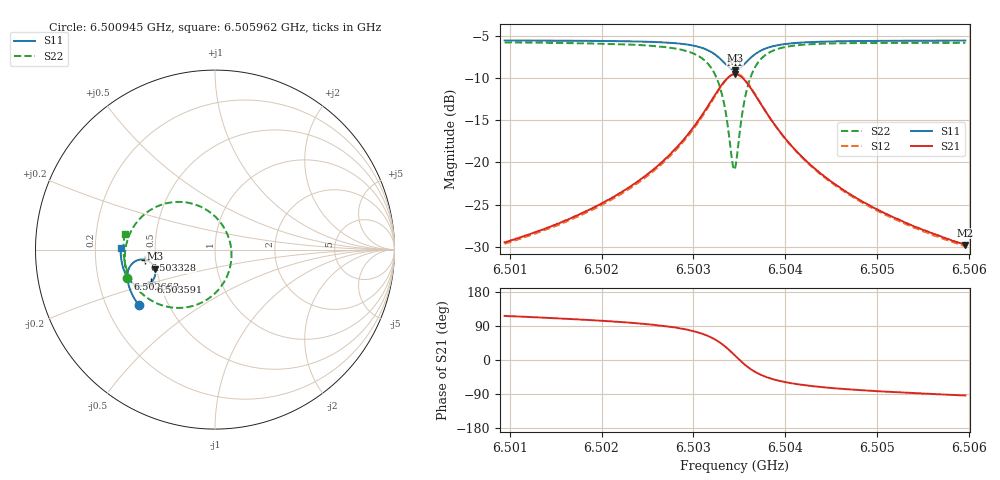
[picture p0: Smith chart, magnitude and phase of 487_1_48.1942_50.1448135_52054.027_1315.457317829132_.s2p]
#  HZ  S  RI  R  50.00
! Rohde & Schwarz Vector Network Analyzer
! Rohde-Schwarz,ZNB20-2Port,1311601062101988,3.16
! Created: UTC 3/20/2024, 11:57:54 AM
! freq[Hz]  re:S11  im:S11  re:S21  im:S21  re:S12  im:S12  re:S22  im:S22
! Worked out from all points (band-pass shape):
!   401 points, 6.500945 GHz to 6.505962 GHz, reference 50 ohm
!   highest |S21| = -9.57 dB at 6.503453 GHz (marker M1); lowest = -29.8 dB at 6.505962 GHz (marker M2)
!   |S21| within 3 dB of the highest: 6.503203 GHz to 6.503705 GHz (501.4 kHz wide, 0.00771 % of centre)
!   lowest |S11| = -9.1 dB at 6.503453 GHz (marker M3), VSWR 2.09, Z = 24.4 - j5.92 ohm
!   |S11| at or under -10 dB: nowhere
!   |S22| runs from -20.9 to -5.8 dB; largest |S21 - S12| = 0.011
!   S11 on the Smith chart (normalised r, x): 6.500945 GHz: 0.34, -0.29; 6.502663 GHz: 0.33, -0.14; 6.503328 GHz: 0.44, -0.06; 6.503591 GHz: 0.45, -0.19; 6.505962 GHz: 0.31, +0.01
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6.5009446e9  -0.4259 -0.3106  -0.0149 0.0301  -0.0133 0.0301  -0.4894 -0.1558
6.5017851e9  -0.4621 -0.2484  -0.0142 0.048  -0.0119 0.0476  -0.5028 -0.0665
6.5022492e9  -0.4786 -0.2071  -0.0113 0.0673  -0.00839 0.0663  -0.4997 -0.00067
6.5026255e9  -0.4875 -0.1655  -0.00218 0.0969  0.0013 0.0946  -0.4802 0.0747
6.5026631e9  -0.4877 -0.1606  -0.000552 0.101  0.00308 0.0986  -0.4764 0.084
6.5029391e9  -0.484 -0.1175  0.0264 0.1436  0.0298 0.1394  -0.4208 0.17
6.5031273e9  -0.4625 -0.0794  0.0806 0.186  0.0828 0.1801  -0.317 0.243
6.5032402e9  -0.4296 -0.0586  0.15 0.2037  0.1506 0.1979  -0.1919 0.2656
6.503328e9  -0.3889 -0.0567  0.2303 0.1876  0.2303 0.1831  -0.0536 0.2252
6.5033656e9  -0.3694 -0.0645  0.2669 0.1644  0.2676 0.1604  0.00718 0.1781
6.5034283e9  -0.3423 -0.0914  0.3153 0.1  0.3179 0.0957  0.0803 0.0538
6.5034534e9  -0.3357 -0.1062  0.3255 0.0673  0.329 0.0622  0.0913 -0.00691
6.5034785e9  -0.3327 -0.1222  0.3293 0.0333  0.333 0.027  0.0895 -0.0691
6.5035412e9  -0.3397 -0.1599  0.3109 -0.0456  0.3134 -0.0551  0.0333 -0.2061
6.5035914e9  -0.3563 -0.1822  0.2769 -0.0917  0.2771 -0.1026  -0.0438 -0.278
6.5037043e9  -0.4012 -0.202  0.1917 -0.1368  0.1867 -0.1462  -0.2166 -0.3247
6.5038674e9  -0.4479 -0.1924  0.109 -0.1334  0.1024 -0.1385  -0.3653 -0.2774
6.504043e9  -0.4755 -0.171  0.0643 -0.113  0.0583 -0.1153  -0.438 -0.2119
6.5042938e9  -0.4964 -0.141  0.034 -0.0884  0.0295 -0.089  -0.4814 -0.1391
6.5046702e9  -0.512 -0.1018  0.0149 -0.0649  0.0117 -0.0646  -0.504 -0.0642
6.5051343e9  -0.5214 -0.0586  0.00511 -0.0483  0.00283 -0.0476  -0.5102 0.00149
6.5059622e9  -0.5264 0.0115  -0.00212 -0.0324  -0.00336 -0.0317  -0.5025 0.0892
